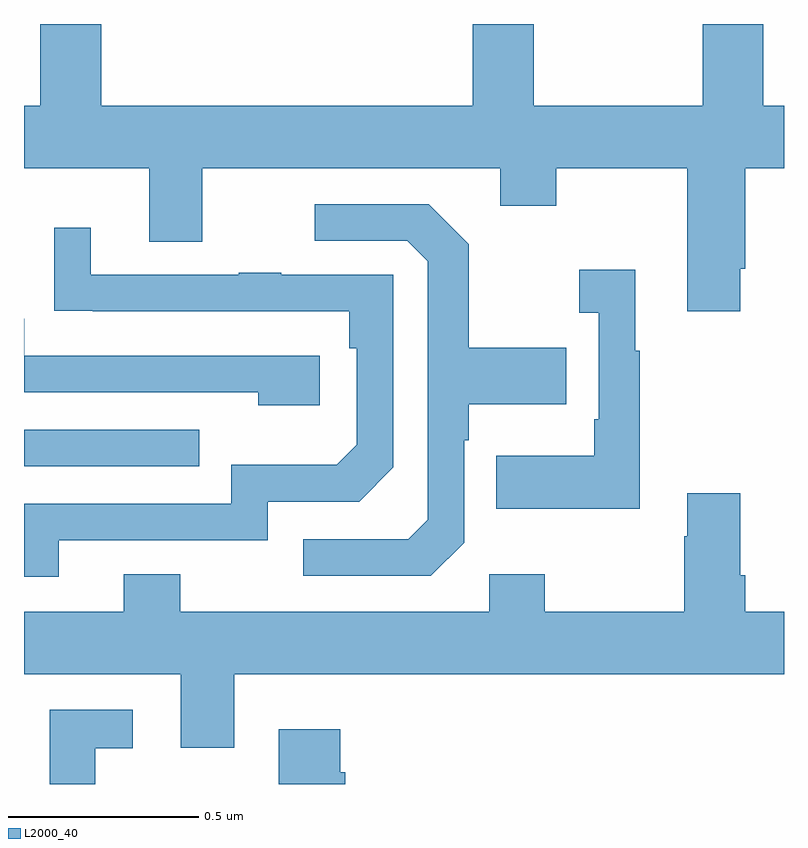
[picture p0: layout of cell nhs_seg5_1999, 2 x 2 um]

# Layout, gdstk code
import gdstk
lib = gdstk.Library(unit=1e-6, precision=1e-09)
def R(c, l, rs):  # rectangles x0, y0, x1, y1
    for r in rs: c.add(gdstk.rectangle(r[:2], r[2:], *l))
def P(c, l, *ps):  # polygons
    for p in ps: c.add(gdstk.Polygon(p, *l))
L2000_40 = (2000, 40)

nhs_seg5_1999 = lib.new_cell('nhs_seg5_1999')
R(nhs_seg5_1999, L2000_40, [(138,862.635,138.461,862.731)])
P(nhs_seg5_1999, L2000_40, [(139.341,863.799),(139.181,863.799),(139.181,863.584),(138.203,863.584),(138.203,863.799),(138.043,863.799),(138.043,863.584),(138,863.584),(138,863.42),(138.329,863.42),(138.329,863.226),(138.469,863.226),(138.469,863.42),(139.253,863.42),(139.253,863.321),(139.401,863.321),(139.401,863.42),(139.745,863.42),(139.745,863.043),(139.885,863.043),(139.885,863.155),(139.898,863.155),(139.898,863.42),(140,863.42),(140,863.584),(139.946,863.584),(139.946,863.799),(139.786,863.799),(139.786,863.584),(139.341,863.584)],
  [(139.158,862.434),(139.158,862.703),(139.171,862.703),(139.171,862.799),(139.427,862.799),(139.427,862.947),(139.171,862.947),(139.171,863.219),(139.065,863.325),(138.765,863.325),(138.765,863.229),(139.008,863.229),(139.062,863.175),(139.062,862.494),(139.011,862.443),(138.735,862.443),(138.735,862.347),(139.071,862.347)],
  [(138.091,862.44),(138.642,862.44),(138.642,862.542),(138.882,862.542),(138.972,862.632),(138.972,863.139),(138.677,863.139),(138.677,863.144),(138.565,863.144),(138.565,863.139),(138.175,863.139),(138.175,863.263),(138.079,863.263),(138.079,863.044),(138.181,863.044),(138.181,863.043),(138.856,863.043),(138.856,862.946),(138.876,862.946),(138.876,862.692),(138.823,862.639),(138.546,862.639),(138.546,862.536),(138,862.536),(138,862.344),(138.091,862.344)],
  [(139.621,862.939),(139.609,862.939),(139.609,863.152),(139.461,863.152),(139.461,863.039),(139.512,863.039),(139.512,862.759),(139.5,862.759),(139.5,862.663),(139.243,862.663),(139.243,862.523),(139.621,862.523)],
  [(138.778,862.926),(138.001,862.926),(138.001,863.023),(138,863.023),(138,862.83),(138.617,862.83),(138.617,862.796),(138.778,862.796)],
  [(138.553,862.088),(140,862.088),(140,862.252),(139.898,862.252),(139.898,862.348),(139.885,862.348),(139.885,862.564),(139.745,862.564),(139.745,862.451),(139.738,862.451),(139.738,862.252),(139.371,862.252),(139.371,862.351),(139.224,862.351),(139.224,862.252),(138.411,862.252),(138.411,862.351),(138.263,862.351),(138.263,862.252),(138,862.252),(138,862.088),(138.413,862.088),(138.413,861.894),(138.553,861.894)],
  [(138.187,861.893),(138.286,861.893),(138.286,861.994),(138.068,861.994),(138.068,861.799),(138.187,861.799)],
  [(138.845,861.83),(138.832,861.83),(138.832,861.943),(138.671,861.943),(138.671,861.799),(138.845,861.799)])

lib.write_gds('nhs_seg5_1999.gds')
